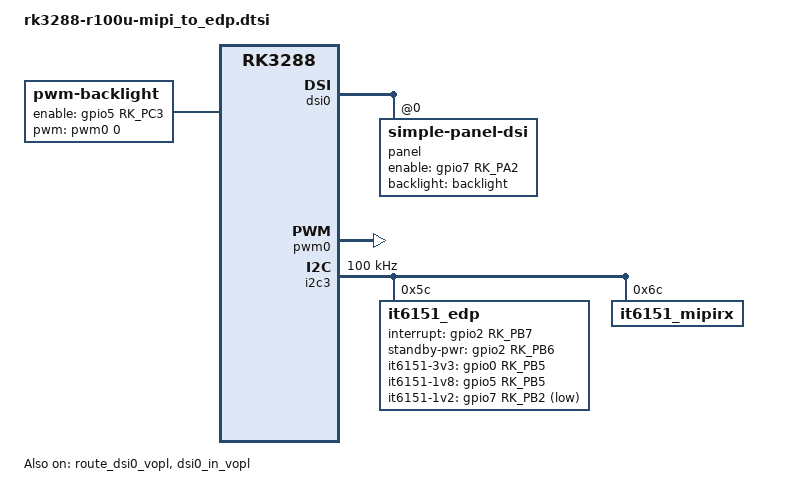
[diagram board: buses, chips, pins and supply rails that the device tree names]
/********************************************************************************
 * lcd_type = <0>; ---> edp
 * lcd_type = <1>; ---> lvds
 * lcd_type = <2>; ---> mipt_to_edp
********************************************************************************/
/ {
    /* about backlight */
    backlight: backlight {
    compatible = "pwm-backlight";
    brightness-levels = 
        <
          0   1   2   3   4   5   6   7
          8   9  10  11  12  13  14  15
         16  17  18  19  20  21  22  23
         24  25  26  27  28  29  30  31
         32  33  34  35  36  37  38  39
         40  41  42  43  44  45  46  47
         48  49  50  51  52  53  54  55
         56  57  58  59  60  61  62  63
         64  65  66  67  68  69  70  71
         72  73  74  75  76  77  78  79
         80  81  82  83  84  85  86  87
         88  89  90  91  92  93  94  95
         96  97  98  99 100 101 102 103
        104 105 106 107 108 109 110 111
        112 113 114 115 116 117 118 119
        120 121 122 123 124 125 126 127
        128 129 130 131 132 133 134 135
        136 137 138 139 140 141 142 143
        144 145 146 147 148 149 150 151
        152 153 154 155 156 157 158 159
        160 161 162 163 164 165 166 167
        168 169 170 171 172 173 174 175
        176 177 178 179 180 181 182 183
        184 185 186 187 188 189 190 191
        192 193 194 195 196 197 198 199
        200 201 202 203 204 205 206 207
        208 209 210 211 212 213 214 215
        216 217 218 219 220 221 222 223
        224 225 226 227 228 229 230 231
        232 233 234 235 236 237 238 239
        240 241 242 243 244 245 246 247
        248 249 250 251 252 253 254 255>;

        default-brightness-level = <128>;
        rockchip,pwm_id = <0>;
        enable-gpios = <&gpio5 RK_PC3 GPIO_ACTIVE_HIGH>;
        pwms = <&pwm0 0 1000000 0>;
        pwm_num = <0>;        
    };
};

/************************************** pin description **********************************
 * LCD_RST:             GPIO7_A4, High ---> reset
 * BACKLIGHT_ENABLE:    GPIO7_A2, High ---> enable
 * LCD_PWM              pwm0
 * LCD_STANDY           GPIO7_B2, High ---> enable
 * LCM_3V3_ENABLE       GPIO0_B5, Low  ---> enable
 * LCM_1V8_ENABLE       GPIO5_B5, High  ---> enable
******************************************************************************************/

&dsi0 {
	status = "okay";
	rockchip,lane-rate = <420>;
    // rockchip,lane-rate = <1000>;
	panel: panel {
        status = "okay";
		compatible = "simple-panel-dsi";
        reg = <0>;
        backlight = <&backlight>;
        // it6151-3v3-enable = <&gpio0 RK_PB5 GPIO_ACTIVE_HIGH>;
        // it6151-1v8-enable = <&gpio5 RK_PB5 GPIO_ACTIVE_HIGH>;
        // it6151-stadby-enable = <&gpio7 RK_PB2 GPIO_ACTIVE_LOW>;
        enable = <&gpio7 RK_PA2 GPIO_ACTIVE_HIGH>;

        lcd_type = <3>;         // lcd screen mipi
        dsi,flags = <(MIPI_DSI_MODE_VIDEO | MIPI_DSI_MODE_VIDEO_BURST | MIPI_DSI_MODE_LPM)>;
        dsi,format = <MIPI_DSI_FMT_RGB888>;
        bus-format = <MEDIA_BUS_FMT_RBG888_1X24>;
        dsi,lanes = <4>;
        // reset-delay-ms = <30>;
        // init-delay-ms = <120>;
        enable-delay-ms = <30>;
        prepare-delay-ms = <30>;
        unprepare-delay-ms = <30>; 
        disp_timings: display-timings {
            native-mode = <&timing0>;
            timing0: timing0 {
                screen-type = <SCREEN_MIPI>;
                out-face    = <OUT_P888>;                
                clock-frequency = <152000000>;
                // clock-frequency = <79000000>;
                // clock-frequency = <66000000>;
                hactive = <1920>;
                vactive = <1080>;
                hfront-porch = <48>;
                hsync-len = <4>;
                hback-porch = <310>;
                vfront-porch = <4>;
                vsync-len = <4>;
                vback-porch = <60>;
                hsync-active = <0>;
                vsync-active = <0>;
                de-active = <0>;
                pixelclk-active = <0>;

            };
        };
    };
};


/** set display to edp ---------------------*/
&route_dsi0_vopl {
	status = "okay";
};

&dsi0_in_vopb {
	status = "disabled";
};

&dsi0_in_vopl {
	status = "okay";
};

&pwm0 {
	status = "okay";
};


/**********************************************************************
 * it6151 PCARD pin  to GND, 8-bit address: 0xB8, 7-bit address: 0x5c
 * #define IT6151_EDP_SLAVE_ADDR_WRITE					(0x5C << 0)
 * #define	IT6151_MIPIRX_SLAVE_ADDR_WRITE 				(0x6C << 0)
***********************************************************************/
&i2c3 {
	status = "okay";
	clock-frequency = <100000>;     // it6151 max speed 100KHZ
    
	it6151_edp@5c {
        compatible = "it6151_edp";
        status = "okay";
        reg = <0x5c>;
        screen_size_h = <1920>;
        screen_size_v = <1080>;
        screen_fps = <60>;
        interrupt-gpio = <&gpio2 RK_PB7 GPIO_ACTIVE_HIGH>;    // defalut low, active hight, interrupt
        standby-pwr-gpio = <&gpio2 RK_PB6 GPIO_ACTIVE_HIGH>; //activer high for standby mode
        // it6151,pwr_1v8 = <&gpio5 RK_PB5 GPIO_ACTIVE_HIGH>;
        // it6151,pwr_3v3 = <&gpio0 RK_PB5 GPIO_ACTIVE_LOW>;
        // it6151,pwr-stby = <&gpio7 RK_PB2 GPIO_ACTIVE_LOW>;
        it6151-3v3 = <&gpio0 RK_PB5 GPIO_ACTIVE_HIGH>;
        it6151-1v8 = <&gpio5 RK_PB5 GPIO_ACTIVE_HIGH>;
        it6151-1v2 = <&gpio7 RK_PB2 GPIO_ACTIVE_LOW>;
        // lcm-main-pwr = <&gpio7 RK_PA2 GPIO_ACTIVE_HIGH>;
    };
	it6151_mipirx@6c {
		compatible = "it6151_mipirx";	
		reg = <0x6c>;
	};
};
